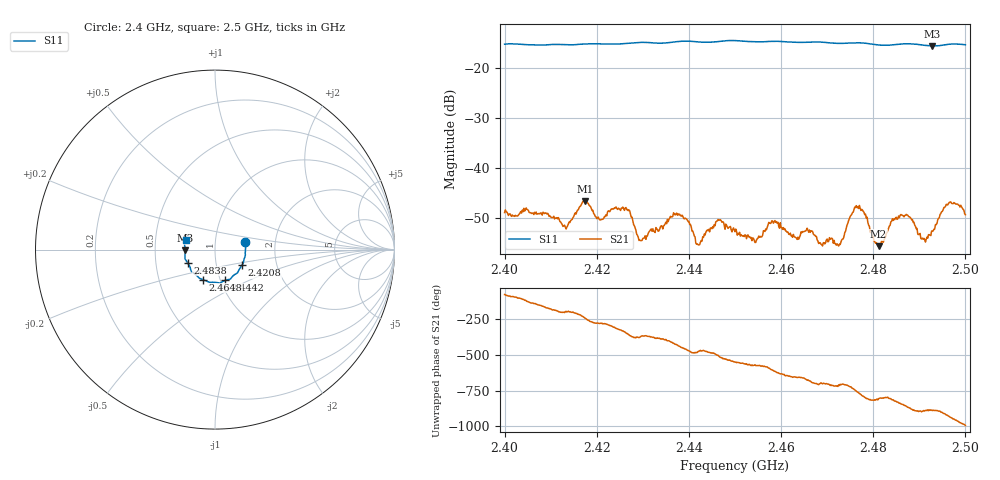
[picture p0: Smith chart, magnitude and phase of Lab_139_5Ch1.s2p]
# Hz S RI R 50
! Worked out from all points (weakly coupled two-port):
!   601 points, 2.4 GHz to 2.5 GHz, reference 50 ohm
!   highest |S21| = -46.61 dB at 2.4175 GHz (marker M1); lowest = -55.7 dB at 2.4812 GHz (marker M2)
!   lowest |S11| = -15.6 dB at 2.4928 GHz (marker M3), VSWR 1.40, Z = 35.8 - j0.351 ohm
!   |S11| at or under -10 dB: start of sweep to end of sweep
!   S12 and S22 are empty: the file has one direction only
!   S11 on the Smith chart (normalised r, x): 2.4 GHz: 1.40, +0.12; 2.4208 GHz: 1.33, -0.24; 2.4442 GHz: 1.05, -0.37; 2.4648 GHz: 0.83, -0.29; 2.4838 GHz: 0.73, -0.11; 2.5 GHz: 0.72, +0.08
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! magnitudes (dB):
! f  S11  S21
! 2.4 GHz  -15.2  -48.9
! 2.4132 GHz  -15.3  -51.8
! 2.4167 GHz  -15.2  -47.3
! 2.4175 GHz  -15.2  -46.6
! 2.4208 GHz  -15.2  -50.4
! 2.4258 GHz  -15.1  -48.1
! 2.4293 GHz  -14.9  -54.4
! 2.4333 GHz  -15.0  -52.7
! 2.4372 GHz  -14.8  -49.2
! 2.442 GHz  -14.8  -55.4
! 2.4442 GHz  -14.9  -52.6
! 2.45 GHz  -14.5  -52.8
! 2.4648 GHz  -14.9  -52.8
! 2.4667 GHz  -14.8  -52.6
! 2.4725 GHz  -15.1  -55.6
! 2.4765 GHz  -15.0  -48.0
! 2.4812 GHz  -15.4  -55.7
! 2.4833 GHz  -15.5  -52.1
! 2.4838 GHz  -15.4  -50.8
! 2.4928 GHz  -15.6  -52.6
! 2.4963 GHz  -15.3  -47.1
! 2.5 GHz  -15.4  -49.4
